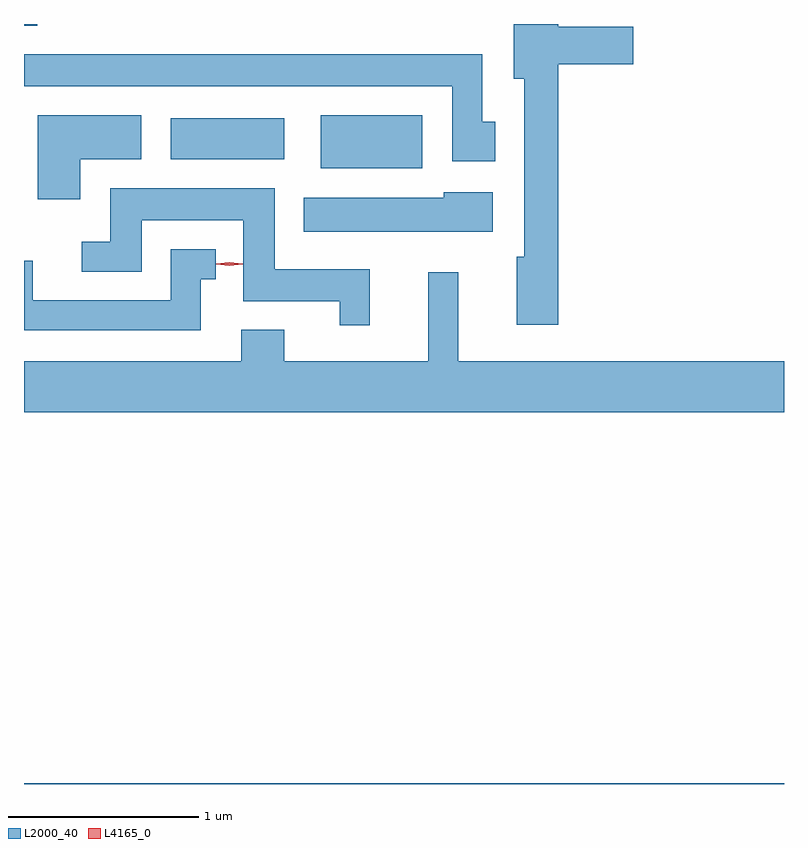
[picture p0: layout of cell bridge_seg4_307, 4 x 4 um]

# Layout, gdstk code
import gdstk
lib = gdstk.Library(unit=1e-6, precision=1e-09)
def R(c, l, rs):  # rectangles x0, y0, x1, y1
    for r in rs: c.add(gdstk.rectangle(r[:2], r[2:], *l))
def P(c, l, *ps):  # polygons
    for p in ps: c.add(gdstk.Polygon(p, *l))
L2000_40 = (2000, 40)
L4165_0 = (4165, 0)

bridge_seg4_307 = lib.new_cell('bridge_seg4_307')
R(bridge_seg4_307, L2000_40, [(542.728,1299.439,546.728,1299.444), (544.291,1302.681,544.824,1302.959), (543.501,1302.726,544.099,1302.944), (542.728,1303.431,542.799,1303.439)])
P(bridge_seg4_307, L2000_40, [(545.539,1303.226),(545.934,1303.226),(545.934,1303.424),(545.539,1303.424),(545.539,1303.439),(545.306,1303.439),(545.306,1303.151),(545.361,1303.151),(545.361,1302.214),(545.321,1302.214),(545.321,1301.856),(545.539,1301.856)],
  [(545.209,1302.924),(545.139,1302.924),(545.139,1303.279),(542.728,1303.279),(542.728,1303.111),(544.981,1303.111),(544.981,1302.716),(545.209,1302.716)],
  [(543.024,1302.726),(543.344,1302.726),(543.344,1302.959),(542.801,1302.959),(542.801,1302.516),(543.024,1302.516)],
  [(544.549,1302.149),(544.049,1302.149),(544.049,1302.574),(543.181,1302.574),(543.181,1302.294),(543.033,1302.294),(543.033,1302.136),(543.349,1302.136),(543.349,1302.406),(543.881,1302.406),(543.881,1301.981),(544.391,1301.981),(544.391,1301.853),(544.549,1301.853)],
  [(545.194,1302.554),(544.936,1302.554),(544.936,1302.524),(544.201,1302.524),(544.201,1302.346),(545.194,1302.346)],
  [(543.659,1302.096),(543.738,1302.096),(543.738,1302.254),(543.501,1302.254),(543.501,1301.984),(542.774,1301.984),(542.774,1302.193),(542.728,1302.193),(542.728,1301.826),(543.659,1301.826)],
  [(546.728,1301.664),(545.014,1301.664),(545.014,1302.133),(544.856,1302.133),(544.856,1301.664),(544.099,1301.664),(544.099,1301.829),(543.871,1301.829),(543.871,1301.664),(542.728,1301.664),(542.728,1301.396),(546.728,1301.396)])
P(bridge_seg4_307, L4165_0, [(543.808,1302.166),(543.739,1302.174),(543.739,1302.175),(543.739,1302.176),(543.808,1302.185),(543.878,1302.176),(543.878,1302.176),(543.878,1302.175)])

lib.write_gds('bridge_seg4_307.gds')
